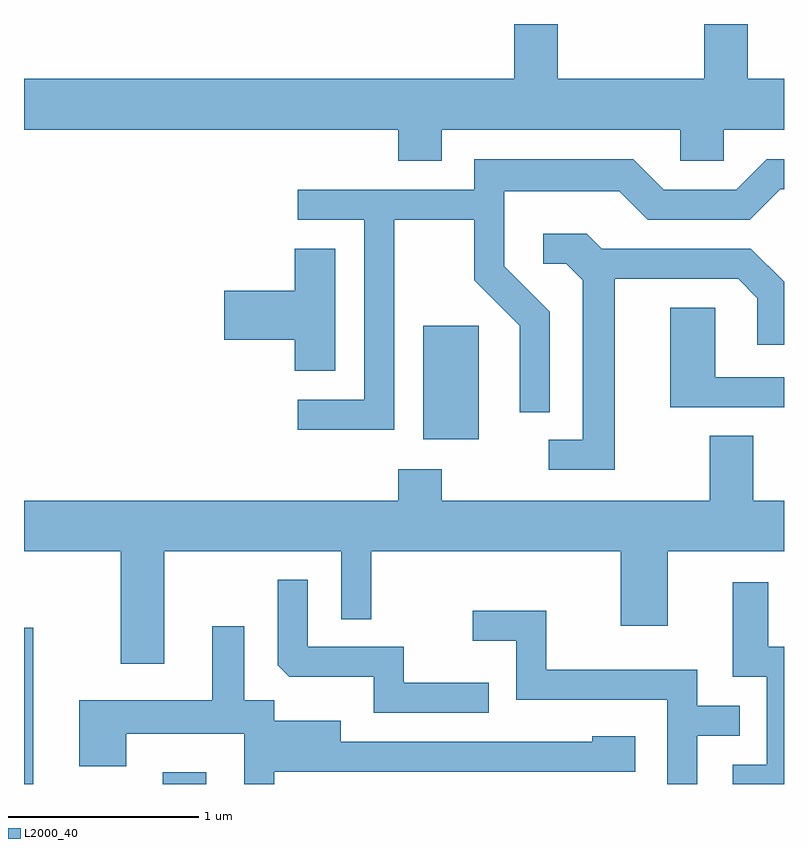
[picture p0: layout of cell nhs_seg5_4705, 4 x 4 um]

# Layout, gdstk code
import gdstk
lib = gdstk.Library(unit=1e-6, precision=1e-09)
def R(c, l, rs):  # rectangles x0, y0, x1, y1
    for r in rs: c.add(gdstk.rectangle(r[:2], r[2:], *l))
def P(c, l, *ps):  # polygons
    for p in ps: c.add(gdstk.Polygon(p, *l))
L2000_40 = (2000, 40)

nhs_seg5_4705 = lib.new_cell('nhs_seg5_4705')
R(nhs_seg5_4705, L2000_40, [(325.611,1400.072,325.659,1400.894), (326.341,1400.072,326.569,1400.134), (327.711,1401.886,328.004,1402.484)])
P(nhs_seg5_4705, L2000_40, [(328.419,1404.072),(328.191,1404.072),(328.191,1403.784),(325.611,1403.784),(325.611,1403.516),(327.581,1403.516),(327.581,1403.351),(327.809,1403.351),(327.809,1403.516),(329.066,1403.516),(329.066,1403.351),(329.294,1403.351),(329.294,1403.516),(329.611,1403.516),(329.611,1403.784),(329.419,1403.784),(329.419,1404.072),(329.191,1404.072),(329.191,1403.784),(328.419,1403.784)],
  [(327.559,1403.041),(327.981,1403.041),(327.981,1402.724),(328.221,1402.484),(328.221,1402.028),(328.379,1402.028),(328.379,1402.557),(328.139,1402.797),(328.139,1403.191),(328.744,1403.191),(328.894,1403.041),(329.432,1403.041),(329.592,1403.201),(329.611,1403.201),(329.611,1403.359),(329.519,1403.359),(329.359,1403.199),(328.977,1403.199),(328.817,1403.359),(327.981,1403.359),(327.981,1403.199),(327.053,1403.199),(327.053,1403.041),(327.401,1403.041),(327.401,1402.094),(327.053,1402.094),(327.053,1401.936),(327.559,1401.936)],
  [(328.719,1402.731),(329.369,1402.731),(329.471,1402.629),(329.471,1402.383),(329.611,1402.383),(329.611,1402.715),(329.437,1402.889),(328.652,1402.889),(328.572,1402.969),(328.343,1402.969),(328.343,1402.811),(328.464,1402.811),(328.551,1402.724),(328.551,1401.884),(328.373,1401.884),(328.373,1401.726),(328.719,1401.726)],
  [(327.249,1402.889),(327.036,1402.889),(327.036,1402.669),(326.666,1402.669),(326.666,1402.411),(327.036,1402.411),(327.036,1402.246),(327.249,1402.246)],
  [(329.611,1402.214),(329.249,1402.214),(329.249,1402.579),(329.011,1402.579),(329.011,1402.056),(329.611,1402.056)],
  [(329.611,1401.564),(329.449,1401.564),(329.449,1401.904),(329.221,1401.904),(329.221,1401.564),(327.809,1401.564),(327.809,1401.729),(327.581,1401.729),(327.581,1401.564),(325.611,1401.564),(325.611,1401.296),(326.121,1401.296),(326.121,1400.706),(326.349,1400.706),(326.349,1401.296),(327.281,1401.296),(327.281,1400.938),(327.439,1400.938),(327.439,1401.296),(328.751,1401.296),(328.751,1400.906),(328.999,1400.906),(328.999,1401.296),(329.611,1401.296)],
  [(328.058,1400.604),(327.609,1400.604),(327.609,1400.794),(327.104,1400.794),(327.104,1401.148),(326.946,1401.148),(326.946,1400.697),(327.007,1400.636),(327.451,1400.636),(327.451,1400.446),(328.058,1400.446)],
  [(329.611,1400.794),(329.529,1400.794),(329.529,1401.134),(329.341,1401.134),(329.341,1400.636),(329.521,1400.636),(329.521,1400.174),(329.341,1400.174),(329.341,1400.072),(329.611,1400.072)],
  [(329.154,1400.326),(329.378,1400.326),(329.378,1400.484),(329.154,1400.484),(329.154,1400.674),(328.359,1400.674),(328.359,1400.984),(327.973,1400.984),(327.973,1400.826),(328.201,1400.826),(328.201,1400.516),(328.996,1400.516),(328.996,1400.072),(329.154,1400.072)],
  [(326.929,1400.136),(328.829,1400.136),(328.829,1400.324),(328.601,1400.324),(328.601,1400.294),(327.279,1400.294),(327.279,1400.404),(326.929,1400.404),(326.929,1400.514),(326.769,1400.514),(326.769,1400.903),(326.601,1400.903),(326.601,1400.514),(325.901,1400.514),(325.901,1400.166),(326.149,1400.166),(326.149,1400.336),(326.771,1400.336),(326.771,1400.072),(326.929,1400.072)])

lib.write_gds('nhs_seg5_4705.gds')
